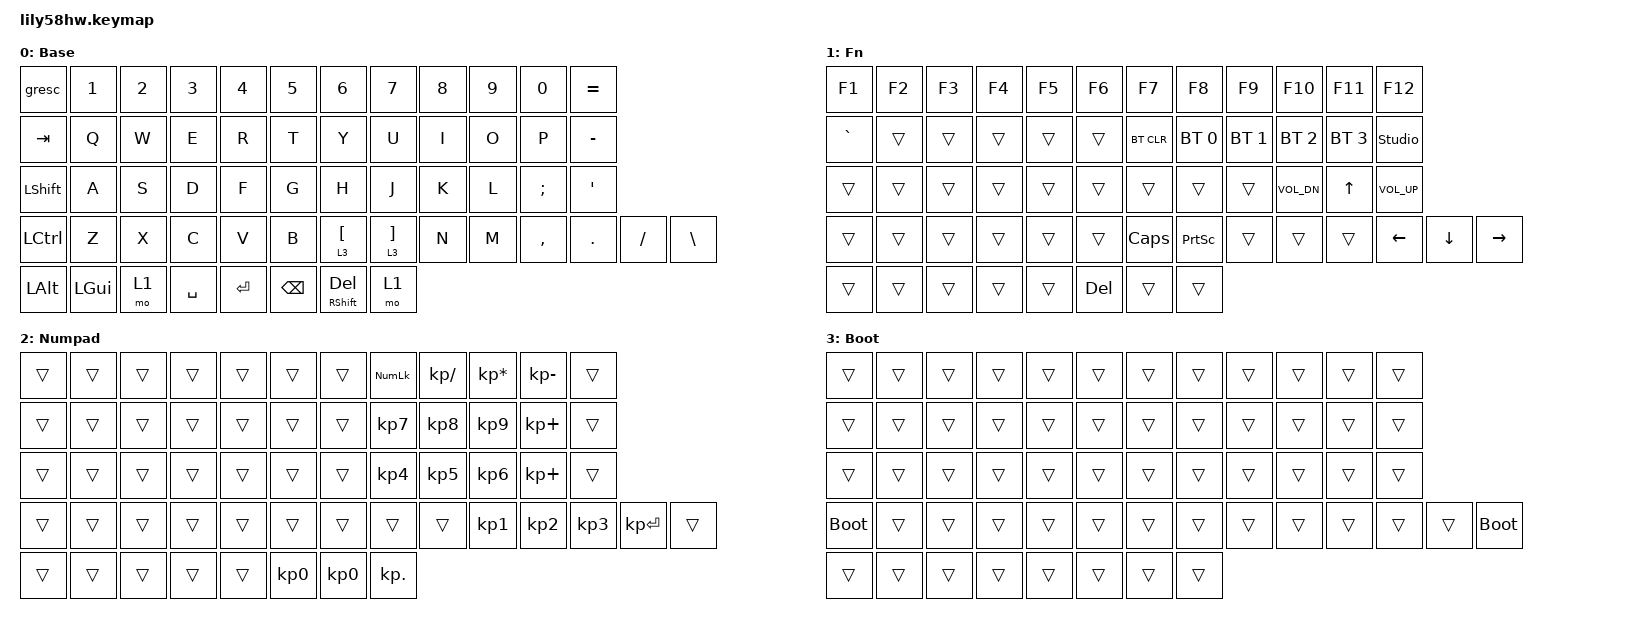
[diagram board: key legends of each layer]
#include <behaviors.dtsi>
#include <dt-bindings/zmk/keys.h>
#include <dt-bindings/zmk/bt.h>

/ {
    keymap {
        compatible = "zmk,keymap";

        base_layer {
            display-name = "Base";
            bindings = <
&gresc     &kp N1     &kp N2     &kp N3     &kp N4     &kp N5     &kp N6     &kp N7     &kp N8     &kp N9     &kp N0     &kp EQUAL
&kp TAB    &kp Q      &kp W      &kp E      &kp R      &kp T      &kp Y      &kp U      &kp I      &kp O      &kp P      &kp MINUS
&kp LSHFT  &kp A      &kp S      &kp D      &kp F      &kp G      &kp H      &kp J      &kp K      &kp L      &kp SEMI   &kp SQT
&kp LCTRL  &kp Z      &kp X      &kp C      &kp V      &kp B      &lt 3 LBKT &lt 3 RBKT   &kp N      &kp M      &kp COMMA  &kp DOT    &kp FSLH   &kp BSLH
&kp LALT   &kp LGUI   &mo 1      &kp SPACE  &kp RET    &kp BSPC   &mt RSHFT DEL &mo 1
            >;
        };

        fn_layer {
            display-name = "Fn";
            bindings = <
&kp F1          &kp F2          &kp F3          &kp F4          &kp F5          &kp F6          &kp F7          &kp F8          &kp F9          &kp F10         &kp F11         &kp F12
&kp GRAVE       &trans          &trans          &trans          &trans          &trans          &bt BT_CLR      &bt BT_SEL 0    &bt BT_SEL 1    &bt BT_SEL 2    &bt BT_SEL 3    &studio_unlock
&trans          &trans          &trans          &trans          &trans          &trans          &trans          &trans          &trans          &kp C_VOL_DN    &kp UP          &kp C_VOL_UP
&trans          &trans          &trans          &trans          &trans          &trans          &kp CAPS        &kp PSCRN       &trans          &trans          &trans          &kp LEFT        &kp DOWN        &kp RIGHT
&trans          &trans          &trans          &trans          &trans          &kp DEL         &trans          &trans
            >;
        };

        numpad_layer {
            display-name = "Numpad";
            bindings = <
&trans          &trans          &trans          &trans          &trans          &trans          &trans          &kp KP_NUM      &kp KP_SLASH    &kp KP_MULTIPLY &kp KP_MINUS    &trans
&trans          &trans          &trans          &trans          &trans          &trans          &trans          &kp KP_N7       &kp KP_N8       &kp KP_N9       &kp KP_PLUS     &trans
&trans          &trans          &trans          &trans          &trans          &trans          &trans          &kp KP_N4       &kp KP_N5       &kp KP_N6       &kp KP_PLUS     &trans
&trans          &trans          &trans          &trans          &trans          &trans          &trans          &trans          &trans          &kp KP_N1       &kp KP_N2       &kp KP_N3       &kp KP_ENTER    &trans
&trans          &trans          &trans          &trans          &trans          &kp KP_N0       &kp KP_N0       &kp KP_DOT
            >;
        };

        boot_layer {
            display-name = "Boot";
            bindings = <
&trans          &trans          &trans          &trans          &trans          &trans          &trans          &trans          &trans          &trans          &trans          &trans
&trans          &trans          &trans          &trans          &trans          &trans          &trans          &trans          &trans          &trans          &trans          &trans
&trans          &trans          &trans          &trans          &trans          &trans          &trans          &trans          &trans          &trans          &trans          &trans
&bootloader     &trans          &trans          &trans          &trans          &trans          &trans          &trans          &trans          &trans          &trans          &trans          &trans          &bootloader
&trans          &trans          &trans          &trans          &trans          &trans          &trans          &trans
            >;
        };

        extra_layer_4 {
            status = "reserved";
            bindings = <&trans &trans &trans &trans &trans &trans &trans &trans &trans &trans &trans &trans &trans &trans &trans &trans &trans &trans &trans &trans &trans &trans &trans &trans &trans &trans &trans &trans &trans &trans &trans &trans &trans &trans &trans &trans &trans &trans &trans &trans &trans &trans &trans &trans &trans &trans &trans &trans &trans &trans &trans &trans &trans &trans &trans &trans &trans &trans>;
        };

        extra_layer_5 {
            status = "reserved";
            bindings = <&trans &trans &trans &trans &trans &trans &trans &trans &trans &trans &trans &trans &trans &trans &trans &trans &trans &trans &trans &trans &trans &trans &trans &trans &trans &trans &trans &trans &trans &trans &trans &trans &trans &trans &trans &trans &trans &trans &trans &trans &trans &trans &trans &trans &trans &trans &trans &trans &trans &trans &trans &trans &trans &trans &trans &trans &trans &trans>;
        };

        extra_layer_6 {
            status = "reserved";
            bindings = <&trans &trans &trans &trans &trans &trans &trans &trans &trans &trans &trans &trans &trans &trans &trans &trans &trans &trans &trans &trans &trans &trans &trans &trans &trans &trans &trans &trans &trans &trans &trans &trans &trans &trans &trans &trans &trans &trans &trans &trans &trans &trans &trans &trans &trans &trans &trans &trans &trans &trans &trans &trans &trans &trans &trans &trans &trans &trans>;
        };

        extra_layer_7 {
            status = "reserved";
            bindings = <&trans &trans &trans &trans &trans &trans &trans &trans &trans &trans &trans &trans &trans &trans &trans &trans &trans &trans &trans &trans &trans &trans &trans &trans &trans &trans &trans &trans &trans &trans &trans &trans &trans &trans &trans &trans &trans &trans &trans &trans &trans &trans &trans &trans &trans &trans &trans &trans &trans &trans &trans &trans &trans &trans &trans &trans &trans &trans>;
        };

        extra_layer_8 {
            status = "reserved";
            bindings = <&trans &trans &trans &trans &trans &trans &trans &trans &trans &trans &trans &trans &trans &trans &trans &trans &trans &trans &trans &trans &trans &trans &trans &trans &trans &trans &trans &trans &trans &trans &trans &trans &trans &trans &trans &trans &trans &trans &trans &trans &trans &trans &trans &trans &trans &trans &trans &trans &trans &trans &trans &trans &trans &trans &trans &trans &trans &trans>;
        };
    };
};
